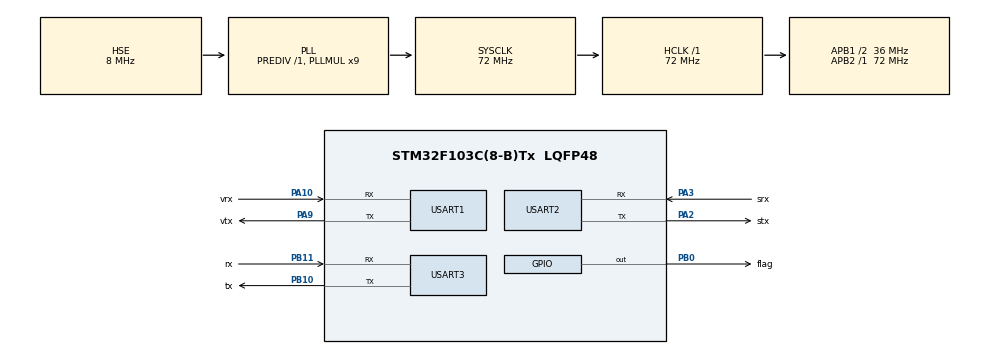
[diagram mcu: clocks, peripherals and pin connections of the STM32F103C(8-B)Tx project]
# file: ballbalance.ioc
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Mcu.Family=STM32F1
Mcu.Name=STM32F103C(8-B)Tx
Mcu.Package=LQFP48
NVIC.PriorityGroup=NVIC_PRIORITYGROUP_4
NVIC.USART1_IRQn=true\:0\:0\:false\:false\:true\:true\:true\:true
NVIC.USART3_IRQn=true\:0\:0\:false\:false\:true\:true\:true\:true
PA10.GPIO_Label=vrx
PA10.Mode=Asynchronous
PA10.Signal=USART1_RX
PA13.Mode=Serial_Wire
PA13.Signal=SYS_JTMS-SWDIO
PA14.Mode=Serial_Wire
PA14.Signal=SYS_JTCK-SWCLK
PA2.GPIO_Label=stx
PA2.Mode=Asynchronous
PA2.Signal=USART2_TX
PA3.GPIO_Label=srx
PA3.Mode=Asynchronous
PA3.Signal=USART2_RX
PA9.GPIO_Label=vtx
PA9.Mode=Asynchronous
PA9.Signal=USART1_TX
PB0.GPIO_Label=flag
PB0.GPIO_PuPd=GPIO_PULLDOWN
PB0.Signal=GPIO_Output
PB10.GPIO_Label=tx
PB10.Mode=Asynchronous
PB10.Signal=USART3_TX
PB11.GPIO_Label=rx
PB11.Mode=Asynchronous
PB11.Signal=USART3_RX
PD0-OSC_IN.Mode=HSE-External-Oscillator
PD0-OSC_IN.Signal=RCC_OSC_IN
PD1-OSC_OUT.Mode=HSE-External-Oscillator
PD1-OSC_OUT.Signal=RCC_OSC_OUT
ProjectManager.HeapSize=0x200
ProjectManager.StackSize=0x400
ProjectManager.TargetToolchain=CMake
RCC.AHBFreq_Value=72000000
RCC.APB1CLKDivider=RCC_HCLK_DIV2
RCC.APB1Freq_Value=36000000
RCC.APB1TimFreq_Value=72000000
RCC.APB2Freq_Value=72000000
RCC.APB2TimFreq_Value=72000000
RCC.HCLKFreq_Value=72000000
RCC.PLLMUL=RCC_PLL_MUL9
RCC.PLLSourceVirtual=RCC_PLLSOURCE_HSE
RCC.SYSCLKFreq_VALUE=72000000
RCC.SYSCLKSource=RCC_SYSCLKSOURCE_PLLCLK
RCC.USBFreq_Value=72000000
USART1.VirtualMode=VM_ASYNC
USART2.VirtualMode=VM_ASYNC
USART3.VirtualMode=VM_ASYNC
board=custom

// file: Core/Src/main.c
/* USER CODE BEGIN Header */
/**
  ******************************************************************************
  * @file           : main.c
  * @brief          : Main program body
  ******************************************************************************
  * @attention
  *
  * Copyright (c) 2026 STMicroelectronics.
  * All rights reserved.
  *
  * This software is licensed under terms that can be found in the LICENSE file
  * in the root directory of this software component.
  * If no LICENSE file comes with this software, it is provided AS-IS.
  *
  ******************************************************************************
  */
/* USER CODE END Header */
#include "main.h"

/* USER CODE BEGIN Includes */
#include "protocol.h"
#include "target_protocol.h"
#include "ball_ctrl.h"
#include "ball_task.h"
#include "stepper_motor.h"
/* USER CODE END Includes */

UART_HandleTypeDef huart1;
UART_HandleTypeDef huart2;
UART_HandleTypeDef huart3;

/* USER CODE BEGIN PV */
float pide = 0.0f;   /* 调试变量: 误差 e (extern 声明于 main.h) */
/* USER CODE END PV */

void SystemClock_Config(void);
static void MX_GPIO_Init(void);
static void MX_USART1_UART_Init(void);
static void MX_USART2_UART_Init(void);
static void MX_USART3_UART_Init(void);

int main(void)
{

  /* MCU Configuration--------------------------------------------------------*/

  /* Reset of all peripherals, Initializes the Flash interface and the Systick. */
  HAL_Init();

  /* Configure the system clock */
  SystemClock_Config();

  /* Initialize all configured peripherals */
  MX_GPIO_Init();
  MX_USART1_UART_Init();
  MX_USART2_UART_Init();
  MX_USART3_UART_Init();
  /* USER CODE BEGIN 2 */
  /* USART1: 视觉小球坐标中断接收 */
  Protocol_Init();
  /* USART3: 任务启动命令中断接收 */
  Target_Protocol_Init();
  /* 步进电机 (USART2) */
  Stepper_Init(STEPPER_0);
  Stepper_Enable(STEPPER_0);
  /* 小球控制 + 任务状态机 */
  BallCtrl_Init();
  BallTask_Init();
  /* USER CODE END 2 */

  /* Infinite loop */
  while (1)
  {

    /* USER CODE BEGIN 3 */
    BallCtrl_Update();        /* 控制节拍: 读球位 → 算倾角 → 发电机 */
    BallTask_Update();        /* 任务状态机推进 */
    Stepper_UpdateResponse(STEPPER_0); /* 排空电机响应 */
    Target_Poll();            /* 调试: USART3 收到帧则原帧回显 */
  }
  /* USER CODE END 3 */
}

void SystemClock_Config(void)
{
  RCC_OscInitTypeDef RCC_OscInitStruct = {0};
  RCC_ClkInitTypeDef RCC_ClkInitStruct = {0};

  /** Initializes the RCC Oscillators according to the specified parameters
  * in the RCC_OscInitTypeDef structure.
  */
  RCC_OscInitStruct.OscillatorType = RCC_OSCILLATORTYPE_HSE;
  RCC_OscInitStruct.HSEState = RCC_HSE_ON;
  RCC_OscInitStruct.HSEPredivValue = RCC_HSE_PREDIV_DIV1;
  RCC_OscInitStruct.HSIState = RCC_HSI_ON;
  RCC_OscInitStruct.PLL.PLLState = RCC_PLL_ON;
  RCC_OscInitStruct.PLL.PLLSource = RCC_PLLSOURCE_HSE;
  RCC_OscInitStruct.PLL.PLLMUL = RCC_PLL_MUL9;
  if (HAL_RCC_OscConfig(&RCC_OscInitStruct) != HAL_OK)
  {
    Error_Handler();
  }

  /** Initializes the CPU, AHB and APB buses clocks
  */
  RCC_ClkInitStruct.ClockType = RCC_CLOCKTYPE_HCLK|RCC_CLOCKTYPE_SYSCLK
                              |RCC_CLOCKTYPE_PCLK1|RCC_CLOCKTYPE_PCLK2;
  RCC_ClkInitStruct.SYSCLKSource = RCC_SYSCLKSOURCE_PLLCLK;
  RCC_ClkInitStruct.AHBCLKDivider = RCC_SYSCLK_DIV1;
  RCC_ClkInitStruct.APB1CLKDivider = RCC_HCLK_DIV2;
  RCC_ClkInitStruct.APB2CLKDivider = RCC_HCLK_DIV1;

  if (HAL_RCC_ClockConfig(&RCC_ClkInitStruct, FLASH_LATENCY_2) != HAL_OK)
  {
    Error_Handler();
  }
}

static void MX_USART1_UART_Init(void)
{

  huart1.Instance = USART1;
  huart1.Init.BaudRate = 115200;
  huart1.Init.WordLength = UART_WORDLENGTH_8B;
  huart1.Init.StopBits = UART_STOPBITS_1;
  huart1.Init.Parity = UART_PARITY_NONE;
  huart1.Init.Mode = UART_MODE_TX_RX;
  huart1.Init.HwFlowCtl = UART_HWCONTROL_NONE;
  huart1.Init.OverSampling = UART_OVERSAMPLING_16;
  if (HAL_UART_Init(&huart1) != HAL_OK)
  {
    Error_Handler();
  }

}

static void MX_USART2_UART_Init(void)
{

  huart2.Instance = USART2;
  huart2.Init.BaudRate = 115200;
  huart2.Init.WordLength = UART_WORDLENGTH_8B;
  huart2.Init.StopBits = UART_STOPBITS_1;
  huart2.Init.Parity = UART_PARITY_NONE;
  huart2.Init.Mode = UART_MODE_TX_RX;
  huart2.Init.HwFlowCtl = UART_HWCONTROL_NONE;
  huart2.Init.OverSampling = UART_OVERSAMPLING_16;
  if (HAL_UART_Init(&huart2) != HAL_OK)
  {
    Error_Handler();
  }

}

static void MX_USART3_UART_Init(void)
{

  huart3.Instance = USART3;
  huart3.Init.BaudRate = 115200;
  huart3.Init.WordLength = UART_WORDLENGTH_8B;
  huart3.Init.StopBits = UART_STOPBITS_1;
  huart3.Init.Parity = UART_PARITY_NONE;
  huart3.Init.Mode = UART_MODE_TX_RX;
  huart3.Init.HwFlowCtl = UART_HWCONTROL_NONE;
  huart3.Init.OverSampling = UART_OVERSAMPLING_16;
  if (HAL_UART_Init(&huart3) != HAL_OK)
  {
    Error_Handler();
  }

}

static void MX_GPIO_Init(void)
{
  GPIO_InitTypeDef GPIO_InitStruct = {0};

  /* GPIO Ports Clock Enable */
  __HAL_RCC_GPIOD_CLK_ENABLE();
  __HAL_RCC_GPIOA_CLK_ENABLE();
  __HAL_RCC_GPIOB_CLK_ENABLE();

  /*Configure GPIO pin Output Level */
  HAL_GPIO_WritePin(flag_GPIO_Port, flag_Pin, GPIO_PIN_RESET);

  /*Configure GPIO pin : flag_Pin */
  GPIO_InitStruct.Pin = flag_Pin;
  GPIO_InitStruct.Mode = GPIO_MODE_OUTPUT_PP;
  GPIO_InitStruct.Pull = GPIO_PULLDOWN;
  GPIO_InitStruct.Speed = GPIO_SPEED_FREQ_LOW;
  HAL_GPIO_Init(flag_GPIO_Port, &GPIO_InitStruct);

}

void Error_Handler(void)
{
  __disable_irq();
  while (1)
  {
  }
}
